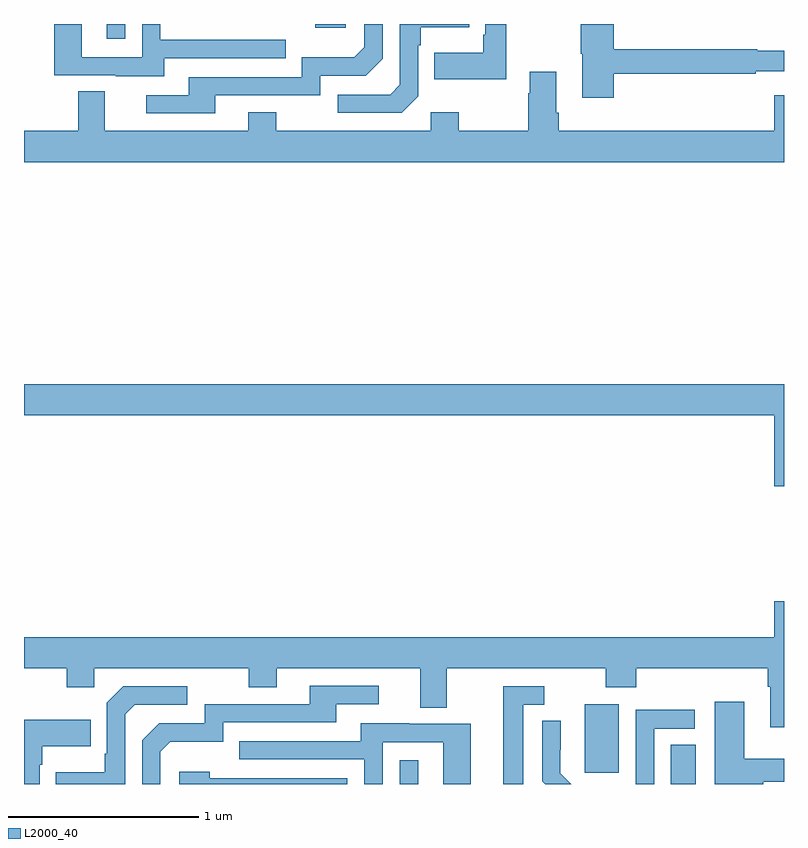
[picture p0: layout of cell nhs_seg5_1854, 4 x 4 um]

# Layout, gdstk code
import gdstk
lib = gdstk.Library(unit=1e-6, precision=1e-09)
def R(c, l, rs):  # rectangles x0, y0, x1, y1
    for r in rs: c.add(gdstk.rectangle(r[:2], r[2:], *l))
def P(c, l, *ps):  # polygons
    for p in ps: c.add(gdstk.Polygon(p, *l))
L2000_40 = (2000, 40)

nhs_seg5_1854 = lib.new_cell('nhs_seg5_1854')
R(nhs_seg5_1854, L2000_40, [(222.978,874.799,223.075,874.924), (224.405,874.799,224.536,875.006), (223.952,874.857,224.131,875.218), (221.435,878.721,221.532,878.799), (222.533,878.78,222.694,878.799)])
P(nhs_seg5_1854, L2000_40, [(223.074,878.418),(223.074,878.687),(223.087,878.687),(223.087,878.783),(223.343,878.783),(223.343,878.799),(222.978,878.799),(222.978,878.478),(222.927,878.427),(222.651,878.427),(222.651,878.331),(222.987,878.331)],
  [(222.007,878.424),(222.558,878.424),(222.558,878.526),(222.798,878.526),(222.888,878.616),(222.888,878.799),(222.792,878.799),(222.792,878.676),(222.739,878.623),(222.462,878.623),(222.462,878.52),(221.867,878.52),(221.867,878.424),(221.643,878.424),(221.643,878.328),(222.007,878.328)],
  [(224.105,878.538),(224.852,878.538),(224.852,878.55),(225,878.55),(225,878.659),(224.859,878.659),(224.859,878.666),(224.105,878.666),(224.105,878.799),(223.93,878.799),(223.93,878.643),(223.937,878.643),(223.937,878.412),(224.105,878.412)],
  [(221.737,878.619),(222.377,878.619),(222.377,878.715),(221.718,878.715),(221.718,878.799),(221.622,878.799),(221.622,878.625),(221.304,878.625),(221.304,878.799),(221.159,878.799),(221.159,878.529),(221.483,878.529),(221.483,878.525),(221.737,878.525)],
  [(223.537,878.799),(223.428,878.799),(223.428,878.743),(223.416,878.743),(223.416,878.647),(223.159,878.647),(223.159,878.507),(223.537,878.507)],
  [(225,878.425),(224.948,878.425),(224.948,878.236),(223.814,878.236),(223.814,878.332),(223.801,878.332),(223.801,878.548),(223.661,878.548),(223.661,878.435),(223.654,878.435),(223.654,878.236),(223.287,878.236),(223.287,878.335),(223.14,878.335),(223.14,878.236),(222.327,878.236),(222.327,878.335),(222.179,878.335),(222.179,878.236),(221.425,878.236),(221.425,878.444),(221.285,878.444),(221.285,878.236),(221,878.236),(221,878.072),(225,878.072)],
  [(225,876.904),(221,876.904),(221,876.74),(224.948,876.74),(224.948,876.366),(225,876.366)],
  [(225,875.761),(224.948,875.761),(224.948,875.572),(221,875.572),(221,875.408),(221.224,875.408),(221.224,875.309),(221.37,875.309),(221.37,875.408),(222.184,875.408),(222.184,875.309),(222.331,875.309),(222.331,875.408),(223.085,875.408),(223.085,875.2),(223.225,875.2),(223.225,875.408),(224.062,875.408),(224.062,875.309),(224.222,875.309),(224.222,875.408),(224.915,875.408),(224.915,875.312),(224.927,875.312),(224.927,875.097),(225,875.097)],
  [(221.718,874.968),(221.771,875.021),(222.048,875.021),(222.048,875.124),(222.643,875.124),(222.643,875.22),(222.868,875.22),(222.868,875.316),(222.503,875.316),(222.503,875.22),(221.952,875.22),(221.952,875.118),(221.712,875.118),(221.622,875.028),(221.622,874.799),(221.718,874.799)],
  [(221.532,875.166),(221.583,875.217),(221.86,875.217),(221.86,875.313),(221.523,875.313),(221.436,875.226),(221.436,874.957),(221.424,874.957),(221.424,874.861),(221.167,874.861),(221.167,874.799),(221.532,874.799)],
  [(223.627,875.217),(223.738,875.217),(223.738,875.313),(223.523,875.313),(223.523,874.799),(223.627,874.799)],
  [(224.891,874.811),(225,874.811),(225,874.933),(224.791,874.933),(224.791,875.233),(224.636,875.233),(224.636,874.799),(224.891,874.799)],
  [(224.316,875.091),(224.53,875.091),(224.53,875.19),(224.22,875.19),(224.22,874.799),(224.316,874.799)],
  [(221.082,874.901),(221.095,874.901),(221.095,874.997),(221.351,874.997),(221.351,875.137),(221,875.137),(221,874.799),(221.082,874.799)],
  [(223.823,874.856),(223.823,874.978),(223.824,874.978),(223.824,875.132),(223.728,875.132),(223.728,874.814),(223.743,874.799),(223.879,874.799)],
  [(222.888,875.019),(223.206,875.019),(223.206,874.799),(223.351,874.799),(223.351,875.115),(223.027,875.115),(223.027,875.119),(222.773,875.119),(222.773,875.025),(222.133,875.025),(222.133,874.929),(222.792,874.929),(222.792,874.799),(222.888,874.799)],
  [(222.702,874.83),(221.978,874.83),(221.978,874.864),(221.817,874.864),(221.817,874.799),(222.702,874.799)])

lib.write_gds('nhs_seg5_1854.gds')
